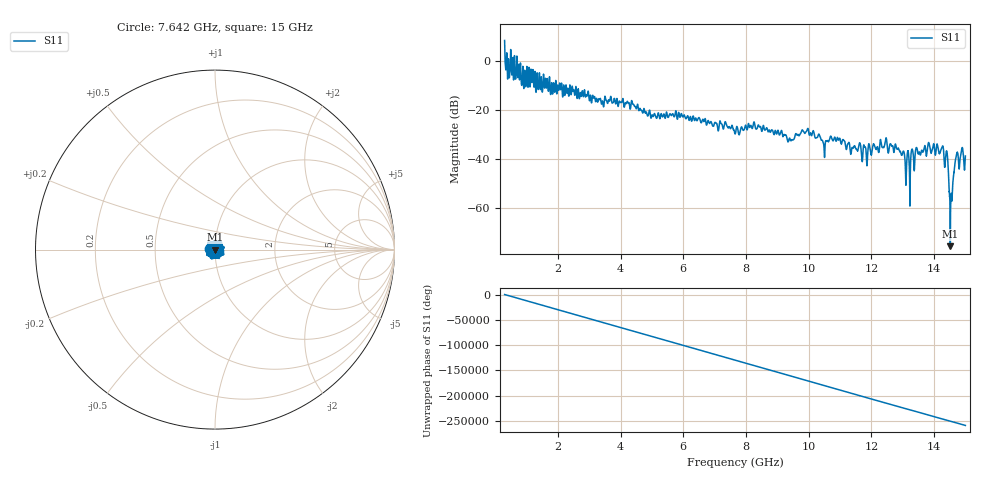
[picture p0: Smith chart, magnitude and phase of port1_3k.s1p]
# GHZ S RI R 50.0
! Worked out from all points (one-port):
!   12801 points, 300 MHz to 15 GHz, reference 50 ohm
!   lowest |S11| = -75.8 dB at 14.52 GHz (marker M1), VSWR 1.00, Z = 50 - j0.0158 ohm
!   |S11| at or under -10 dB: 2.189 GHz to 2.253 GHz (63.69 MHz wide, 2.87 % of centre); 2.262 GHz to 2.38 GHz (117.7 MHz wide, 5.07 % of centre); 2.388 GHz to end of sweep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
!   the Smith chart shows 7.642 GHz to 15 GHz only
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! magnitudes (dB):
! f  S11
! 300 MHz  8.4
! 397.6 MHz  -7.3
! 747.9 MHz  -1.3
! 906.4 MHz  -10.5
! 1.143 GHz  -3.4
! 2.138 GHz  -13.2
! 3.975 GHz  -16.8
! 5.017 GHz  -22.2
! 5.812 GHz  -23.8
! 7.65 GHz  -29.8
! 8.217 GHz  -27.1
! 9.488 GHz  -32.2
! 9.931 GHz  -28.8
! 10.47 GHz  -33.5
! 10.76 GHz  -32.5
! 11.32 GHz  -36.7
! 11.91 GHz  -34.2
! 12.44 GHz  -32.8
! 12.82 GHz  -36.0
! 13.16 GHz  -36.8
! 13.47 GHz  -36.6
! 14.24 GHz  -35.6
! 14.41 GHz  -36.9
! 14.52 GHz  -75.8
! 14.57 GHz  -56.6
! 14.71 GHz  -38.7
! 14.88 GHz  -36.0
! 15 GHz  -38.9
